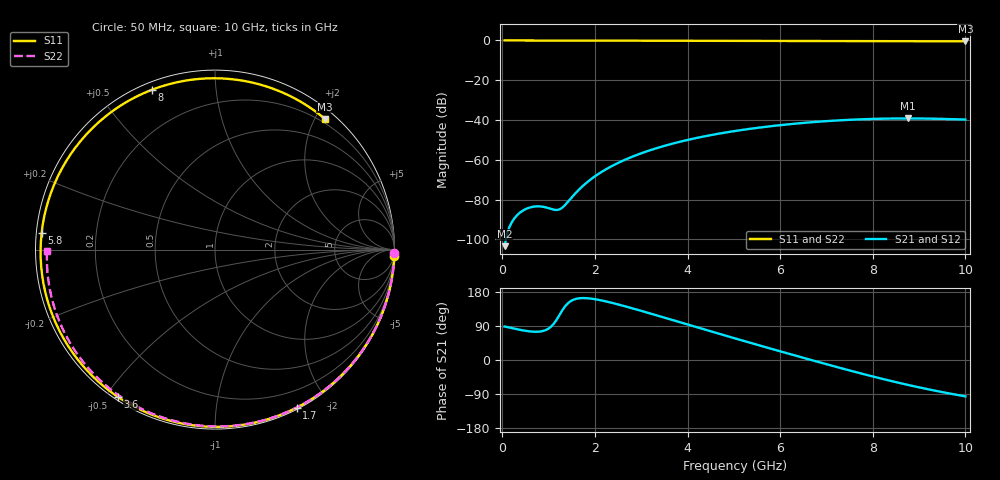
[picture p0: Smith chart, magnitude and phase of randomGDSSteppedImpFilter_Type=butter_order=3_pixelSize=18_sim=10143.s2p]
! freq	dB(S11)	phase(S11)	dB(S12)	phase(S12)
!  dB(S21)	phase(S21)	dB(S22)	phase(S22)
!S-par simulation data
#  GHz  S  DB  R 50
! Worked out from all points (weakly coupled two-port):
!   200 points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, 50 MHz to 10 GHz, reference 50 ohm
!   highest |S21| = -39.22 dB at 8.75 GHz (marker M1); lowest = -103.4 dB at 50 MHz (marker M2)
!   lowest |S11| = -0.4 dB at 10 GHz (marker M3), VSWR 40.21, Z = 6.96 + j107 ohm
!   |S11| at or under -10 dB: nowhere
!   |S22| runs from -0.6 to 0.0 dB; largest |S21 - S12| = 0
!   S11 on the Smith chart (normalised r, x): 50 MHz: 0, -60; 1.7 GHz: 0.02, -1.64; 3.6 GHz: 0.01, -0.54; 5.8 GHz: 0.02, +0.05; 8 GHz: 0.03, +0.68; 10 GHz: 0.14, +2.14
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0.05  -0.00 -1.9  -103.43 88.3  -103.43 88.3  -0.00 -1.1
0.35  -0.02 -13.3  -87.19 80.4  -87.19 80.4  -0.01 -7.4
0.7  -0.03 -26.5  -83.50 74.6  -83.50 74.6  -0.02 -14.7
1.45  -0.07 -53.8  -80.26 153.0  -80.26 153.0  -0.04 -30.2
1.7  -0.08 -62.6  -74.00 163.3  -74.00 163.3  -0.04 -35.3
1.75  -0.08 -64.4  -72.93 163.5  -72.93 163.5  -0.05 -36.3
2.05  -0.09 -74.6  -67.51 159.4  -67.51 159.4  -0.05 -42.3
2.45  -0.11 -87.9  -62.15 148.3  -62.15 148.3  -0.06 -50.2
2.9  -0.12 -102.2  -57.60 133.2  -57.60 133.2  -0.08 -59.0
3.4  -0.14 -117.5  -53.68 115.4  -53.68 115.4  -0.09 -68.4
3.6  -0.15 -123.4  -52.36 108.2  -52.36 108.2  -0.10 -72.2
4.35  -0.18 -145.1  -48.28 81.1  -48.28 81.1  -0.12 -85.8
5.05  -0.22 -164.6  -45.43 56.1  -45.43 56.1  -0.15 -98.1
5.8  -0.26 174.6  -43.11 29.8  -43.11 29.8  -0.19 -110.8
6.25  -0.29 162.1  -42.00 14.3  -42.00 14.3  -0.21 -118.2
6.7  -0.31 149.5  -41.07 -1.0  -41.07 -1.0  -0.24 -125.6
7.4  -0.35 129.4  -40.01 -24.4  -40.01 -24.4  -0.29 -136.9
8  -0.38 111.6  -39.45 -43.5  -39.45 -43.5  -0.35 -146.6
8.35  -0.39 101.1  -39.28 -54.1  -39.28 -54.1  -0.38 -152.2
8.75  -0.41 88.8  -39.22 -65.5  -39.22 -65.5  -0.42 -158.7
9.35  -0.42 70.2  -39.36 -81.1  -39.36 -81.1  -0.49 -168.6
10  -0.43 49.9  -39.77 -96.0  -39.77 -96.0  -0.57 -179.6
